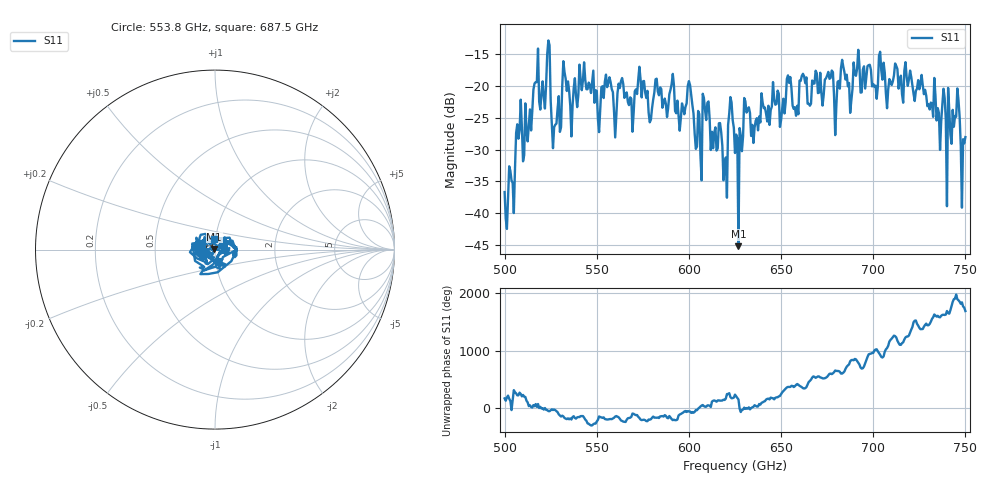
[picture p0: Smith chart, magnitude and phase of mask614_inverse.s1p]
!Created with skrf (http://scikit-rf.org).
# GHz S MA R 50.0
!freq magS11 angS11
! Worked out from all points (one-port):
!   401 points, 500 GHz to 750 GHz, reference 50 ohm
!   lowest |S11| = -45.1 dB at 626.9 GHz (marker M1), VSWR 1.01, Z = 49.5 + j0.288 ohm
!   |S11| at or under -10 dB: start of sweep to end of sweep
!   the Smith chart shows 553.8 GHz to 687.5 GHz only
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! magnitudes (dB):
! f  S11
! 500 GHz  -36.6
! 516.9 GHz  -19.5
! 520.6 GHz  -19.3
! 523.8 GHz  -12.9
! 526.9 GHz  -26.5
! 531.2 GHz  -20.2
! 560 GHz  -28.1
! 562.5 GHz  -20.4
! 579.4 GHz  -25.3
! 590.6 GHz  -19.8
! 593.8 GHz  -22.4
! 600.6 GHz  -19.9
! 605.6 GHz  -24.4
! 608.8 GHz  -23.8
! 619.4 GHz  -32.7
! 622.5 GHz  -21.8
! 625 GHz  -30.5
! 626.9 GHz  -45.1
! 631.2 GHz  -24.2
! 635 GHz  -29.0
! 656.2 GHz  -23.1
! 676.9 GHz  -18.8
! 680 GHz  -23.1
! 683.8 GHz  -17.0
! 687.5 GHz  -24.3
! 690.6 GHz  -18.5
! 718.8 GHz  -20.0
! 750 GHz  -28.1
